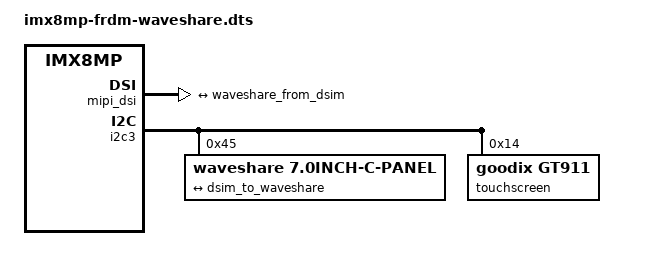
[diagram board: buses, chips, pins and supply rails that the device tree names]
// SPDX-License-Identifier: (GPL-2.0+ OR MIT)
/*
 * Copyright 2025 NXP
 */

#include "imx8mp-frdm.dts"

&mipi_dsi {
	status = "okay";

	port@1 {
		dsim_to_waveshare: endpoint {
			remote-endpoint = <&waveshare_from_dsim>;
			attach-bridge;
		};
	};
};

&i2c3 {
	waveshare: panel@45 {
		compatible = "waveshare,7.0inch-c-panel";
		reg = <0x45>;
		status = "okay";

		port {
			waveshare_from_dsim: endpoint{
				remote-endpoint = <&dsim_to_waveshare>;
			};
		};
	};

	touchscreen@14{
		reg = <0x14>;
		compatible = "goodix,gt911";
		touchscreen-size-x = <1024>;
		touchscreen-size-y = <600>;
	};
};
